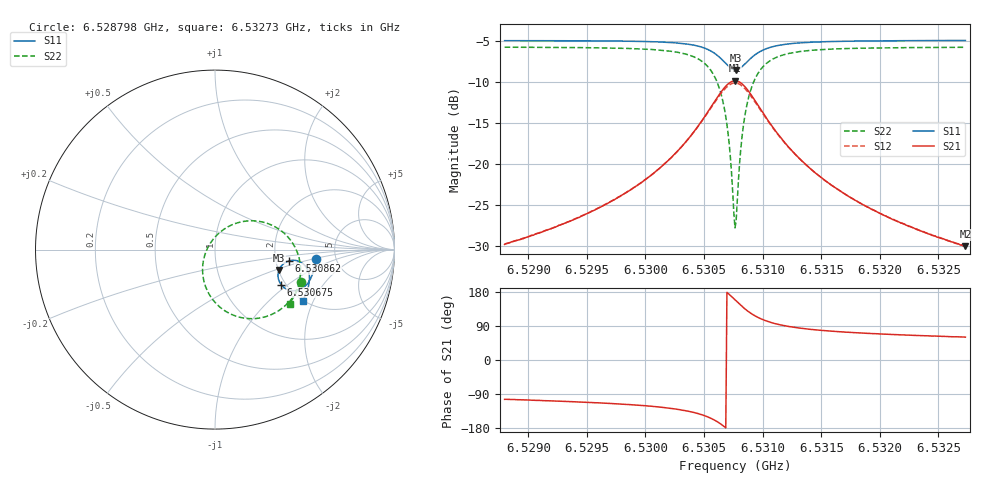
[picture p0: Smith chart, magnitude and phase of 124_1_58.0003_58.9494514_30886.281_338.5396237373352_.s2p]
#  HZ  S  RI  R  50.00
! Rohde & Schwarz Vector Network Analyzer
! Rohde-Schwarz,ZNB20-2Port,1311601062101988,3.16
! Created: UTC 3/21/2024, 12:55:50 AM
! freq[Hz]  re:S11  im:S11  re:S21  im:S21  re:S12  im:S12  re:S22  im:S22
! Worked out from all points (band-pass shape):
!   401 points, 6.528798 GHz to 6.53273 GHz, reference 50 ohm
!   highest |S21| = -9.87 dB at 6.530764 GHz (marker M1); lowest = -30.0 dB at 6.53273 GHz (marker M2)
!   |S21| within 3 dB of the highest: 6.530568 GHz to 6.530961 GHz (393.4 kHz wide, 0.00602 % of centre)
!   lowest |S11| = -8.5 dB at 6.530774 GHz (marker M3), VSWR 2.20, Z = 101 - j26.5 ohm
!   |S11| at or under -10 dB: nowhere
!   |S22| runs from -27.8 to -5.8 dB; largest |S21 - S12| = 0.013
!   S11 on the Smith chart (normalised r, x): 6.528798 GHz: 3.48, -0.55; 6.530675 GHz: 1.89, -0.89; 6.530862 GHz: 2.36, -0.36; 6.53273 GHz: 1.98, -1.66
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6.5287979e9  0.5606 -0.0538  -0.00773 -0.0315  -0.00847 -0.0315  0.4803 -0.1826
6.5294565e9  0.5514 -0.1096  -0.0174 -0.0451  -0.0186 -0.0447  0.4481 -0.245
6.52983e9  0.5401 -0.1454  -0.0304 -0.0594  -0.0319 -0.0587  0.4137 -0.2901
6.5301151e9  0.524 -0.1777  -0.0523 -0.0775  -0.0547 -0.0761  0.3636 -0.3344
6.5303412e9  0.4968 -0.2082  -0.0938 -0.0983  -0.0967 -0.0949  0.2797 -0.3743
6.5305083e9  0.4518 -0.2282  -0.165 -0.1055  -0.1675 -0.0984  0.1483 -0.3793
6.5306066e9  0.4049 -0.2231  -0.2378 -0.0784  -0.237 -0.068  0.0265 -0.3198
6.5306754e9  0.3681 -0.1948  -0.2917 -0.0178  -0.2855 -0.00683  -0.0524 -0.2068
6.5307049e9  0.3565 -0.1737  -0.3062 0.0225  -0.2974 0.032  -0.0683 -0.1372
6.530754e9  0.3521 -0.1304  -0.3042 0.1007  -0.2925 0.1058  -0.0494 -0.00953
6.5307638e9  0.3542 -0.1216  -0.2992 0.1165  -0.2873 0.1203  -0.0381 0.0149
6.5307737e9  0.3569 -0.1129  -0.2927 0.1313  -0.2806 0.1341  -0.0243 0.0382
6.5307835e9  0.3606 -0.1047  -0.2846 0.1456  -0.2728 0.1473  -0.0085 0.0598
6.5308228e9  0.3828 -0.0779  -0.2416 0.1912  -0.2315 0.1893  0.0704 0.126
6.5308621e9  0.4107 -0.0631  -0.1907 0.2158  -0.1834 0.2123  0.1587 0.157
6.5309309e9  0.456 -0.0617  -0.1119 0.2183  -0.1082 0.2151  0.2911 0.1462
6.5310292e9  0.496 -0.0834  -0.044 0.1867  -0.0421 0.1848  0.4009 0.0764
6.5311767e9  0.5196 -0.1198  -0.00255 0.1383  -0.00127 0.1376  0.4612 -0.0225
6.5314224e9  0.5265 -0.1638  0.0153 0.0905  0.0165 0.0902  0.4769 -0.1229
6.5316977e9  0.5222 -0.1979  0.0184 0.0633  0.0194 0.0631  0.4682 -0.1862
6.532081e9  0.5109 -0.2347  0.018 0.0436  0.0186 0.0433  0.4493 -0.241
6.5327298e9  0.4876 -0.2852  0.0157 0.0275  0.0162 0.0273  0.4158 -0.301
